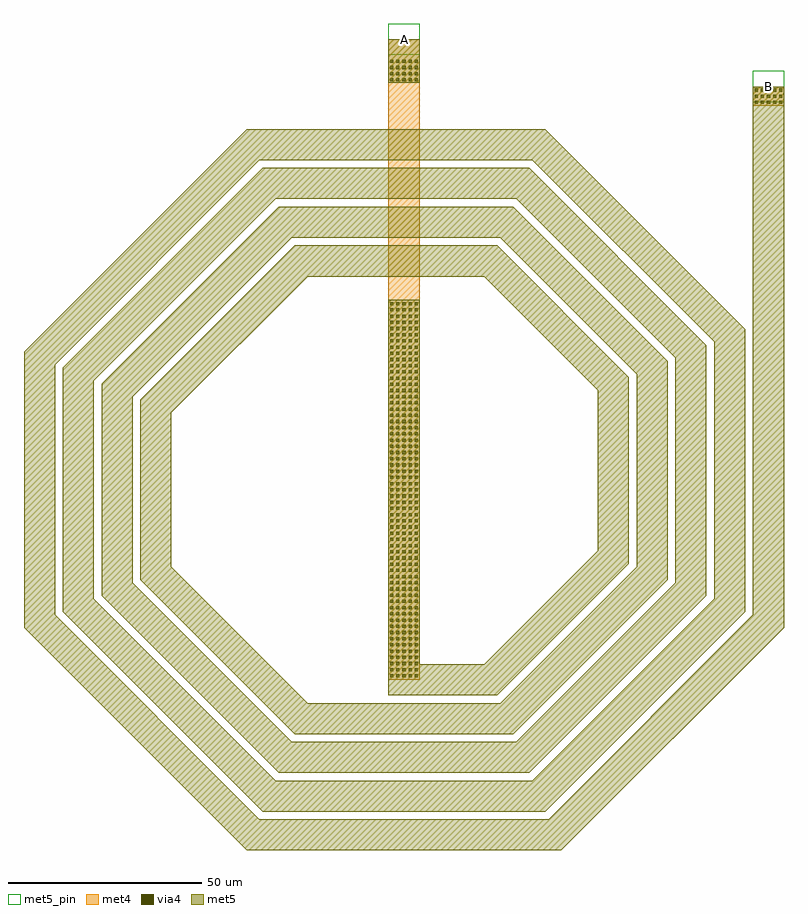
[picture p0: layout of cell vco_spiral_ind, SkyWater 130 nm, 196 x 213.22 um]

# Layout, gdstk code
import gdstk
lib = gdstk.Library(unit=1e-6, precision=1e-09)
def R(c, l, rs):  # rectangles x0, y0, x1, y1
    for r in rs: c.add(gdstk.rectangle(r[:2], r[2:], *l))
def A(c, l, x, y, w, h, nx, ny, dx, dy):  # array of equal rectangles
    R(c, l, [(x+i*dx, y+j*dy, x+i*dx+w, y+j*dy+h) for i in range(nx) for j in range(ny)])
def P(c, l, *ps):  # polygons
    for p in ps: c.add(gdstk.Polygon(p, *l))
met4 = (71, 20)
via4 = (71, 44)
met5_pin = (72, 16)
met5 = (72, 20)

vco_spiral_ind = lib.new_cell('vco_spiral_ind')
R(vco_spiral_ind, met4, [(-4,0,4,160.22), (90,148,98,153), (-4,160.22,4,165.22)])
A(vco_spiral_ind, via4, -3.6, 0.6, 0.8, 0.8, 5, 61, 1.6, 1.6)
A(vco_spiral_ind, via4, 90.4, 148.5, 0.8, 0.8, 5, 3, 1.6, 1.6)
A(vco_spiral_ind, via4, -3.6, 154.31, 0.8, 0.8, 5, 4, 1.6, 1.6)
R(vco_spiral_ind, met5_pin, [(90,149,98,157), (-4,161.22,4,169.22)])
R(vco_spiral_ind, met5, [(-4,154,4,165.22)])
P(vco_spiral_ind, met5, [(4,98),(4,4),(20.71,4),(50,33.29),(50,74.71),(20.71,104),(-24.85,104),(-60,68.85),(-60,29.15),(-24.85,-6),(24.85,-6),(60,29.15),(60,78.85),(24.85,114),(-28.995,114),(-70,72.995),(-70,25.005),(-28.995,-16),(28.995,-16),(70,25.005),(70,82.995),(28.995,124),(-33.135,124),(-80,77.135),(-80,20.865),(-33.135,-26),(33.135,-26),(80,20.865),(80,87.135),(33.135,134),(-37.28,134),(-90,81.28),(-90,16.72),(-37.28,-36),(37.28,-36),(90,16.72),(90,153),(98,153),(98,13.4),(40.6,-44),(-40.6,-44),(-98,13.4),(-98,84.6),(-40.6,142),(36.455,142),(88,90.455),(88,17.545),(36.455,-34),(-36.455,-34),(-88,17.545),(-88,80.455),(-36.455,132),(32.315,132),(78,86.315),(78,21.685),(32.315,-24),(-32.315,-24),(-78,21.685),(-78,76.315),(-32.315,122),(28.17,122),(68,82.17),(68,25.83),(28.17,-14),(-28.17,-14),(-68,25.83),(-68,72.17),(-28.17,112),(24.03,112),(58,78.03),(58,29.97),(24.03,-4),(-4,-4),(-4,98)])
vco_spiral_ind.add(gdstk.Label('A', (0,165.22), layer=72, texttype=16))
vco_spiral_ind.add(gdstk.Label('B', (94,153), layer=72, texttype=16))

lib.write_gds('vco_spiral_ind.gds')
